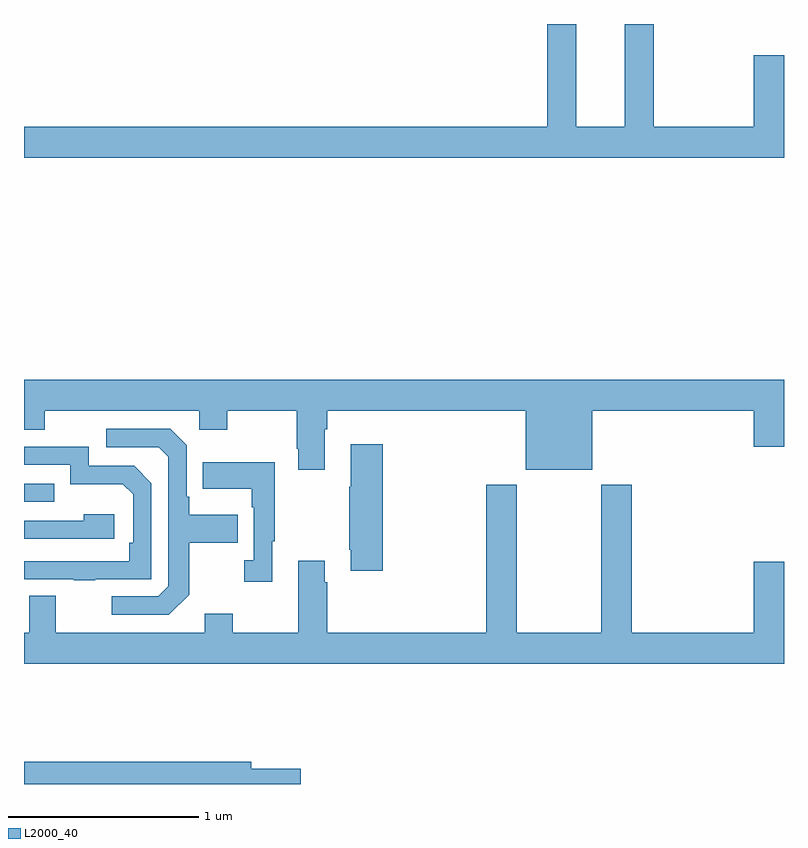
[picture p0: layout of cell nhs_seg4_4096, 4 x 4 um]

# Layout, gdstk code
import gdstk
lib = gdstk.Library(unit=1e-6, precision=1e-09)
def R(c, l, rs):  # rectangles x0, y0, x1, y1
    for r in rs: c.add(gdstk.rectangle(r[:2], r[2:], *l))
def P(c, l, *ps):  # polygons
    for p in ps: c.add(gdstk.Polygon(p, *l))
L2000_40 = (2000, 40)

nhs_seg4_4096 = lib.new_cell('nhs_seg4_4096')
R(nhs_seg4_4096, L2000_40, [(329,752.385,329.159,752.481)])
P(nhs_seg4_4096, L2000_40, [(333,754.735),(332.84,754.735),(332.84,754.36),(332.315,754.36),(332.315,754.9),(332.162,754.9),(332.162,754.36),(331.906,754.36),(331.906,754.9),(331.754,754.9),(331.754,754.36),(329,754.36),(329,754.196),(333,754.196)],
  [(330.583,752.768),(330.596,752.768),(330.596,752.864),(331.64,752.864),(331.64,752.555),(331.99,752.555),(331.99,752.864),(332.84,752.864),(332.84,752.676),(333,752.676),(333,753.028),(329,753.028),(329,752.765),(329.109,752.765),(329.109,752.864),(329.922,752.864),(329.922,752.765),(330.069,752.765),(330.069,752.864),(330.436,752.864),(330.436,752.665),(330.443,752.665),(330.443,752.553),(330.583,752.553)],
  [(329.869,751.897),(329.869,752.17),(330.125,752.17),(330.125,752.317),(329.869,752.317),(329.869,752.413),(329.856,752.413),(329.856,752.682),(329.769,752.769),(329.433,752.769),(329.433,752.673),(329.709,752.673),(329.76,752.622),(329.76,751.941),(329.706,751.887),(329.463,751.887),(329.463,751.791),(329.763,751.791)],
  [(330.887,752.689),(330.719,752.689),(330.719,752.465),(330.712,752.465),(330.712,752.134),(330.719,752.134),(330.719,752.022),(330.887,752.022)],
  [(329.375,751.977),(329.67,751.977),(329.67,752.484),(329.58,752.574),(329.34,752.574),(329.34,752.676),(329,752.676),(329,752.58),(329.244,752.58),(329.244,752.477),(329.521,752.477),(329.574,752.424),(329.574,752.17),(329.554,752.17),(329.554,752.073),(329,752.073),(329,751.977),(329.263,751.977),(329.263,751.972),(329.375,751.972)],
  [(330.307,752.177),(330.319,752.177),(330.319,752.593),(329.941,752.593),(329.941,752.453),(330.198,752.453),(330.198,752.357),(330.21,752.357),(330.21,752.078),(330.159,752.078),(330.159,751.965),(330.307,751.965)],
  [(333,752.071),(332.84,752.071),(332.84,751.696),(332.198,751.696),(332.198,752.476),(332.038,752.476),(332.038,751.696),(331.593,751.696),(331.593,752.476),(331.433,752.476),(331.433,751.696),(330.596,751.696),(330.596,751.961),(330.583,751.961),(330.583,752.074),(330.443,752.074),(330.443,751.696),(330.099,751.696),(330.099,751.795),(329.951,751.795),(329.951,751.696),(329.167,751.696),(329.167,751.891),(329.027,751.891),(329.027,751.696),(329,751.696),(329,751.532),(333,751.532)],
  [(329.476,752.32),(329.315,752.32),(329.315,752.286),(329,752.286),(329,752.19),(329.476,752.19)],
  [(330.457,750.98),(330.196,750.98),(330.196,751.016),(329,751.016),(329,750.9),(330.457,750.9)])

lib.write_gds('nhs_seg4_4096.gds')
